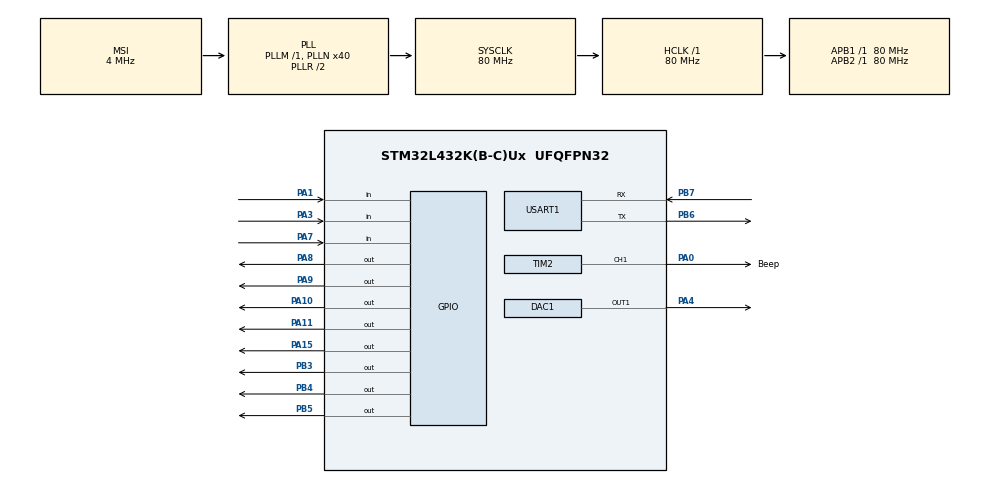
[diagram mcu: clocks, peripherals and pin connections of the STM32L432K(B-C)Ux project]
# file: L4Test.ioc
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DAC1.DAC_OutputBuffer-DAC_OUT1=DAC_OUTPUTBUFFER_DISABLE
DAC1.DAC_Trigger-DAC_OUT1=DAC_TRIGGER_T6_TRGO
Mcu.Family=STM32L4
Mcu.Name=STM32L432K(B-C)Ux
Mcu.Package=UFQFPN32
NVIC.PriorityGroup=NVIC_PRIORITYGROUP_4
NVIC.TIM6_DAC_IRQn=true\:0\:0\:false\:false\:true\:true\:true\:true
NVIC.TIM7_IRQn=true\:0\:0\:false\:false\:true\:true\:true\:true
NVIC.USART1_IRQn=true\:0\:0\:false\:false\:true\:true\:true\:true
PA0.GPIO_Label=Beep
PA0.GPIO_PuPd=GPIO_PULLDOWN
PA0.Signal=S_TIM2_CH1
PA1.GPIO_PuPd=GPIO_PULLDOWN
PA1.Signal=GPIO_Input
PA10.GPIO_ModeDefaultOutputPP=GPIO_MODE_OUTPUT_OD
PA10.GPIO_PuPd=GPIO_PULLUP
PA10.Signal=GPIO_Output
PA11.Signal=GPIO_Output
PA13\ (JTMS-SWDIO).Mode=Serial_Wire
PA13\ (JTMS-SWDIO).Signal=SYS_JTMS-SWDIO
PA14\ (JTCK-SWCLK).Mode=Serial_Wire
PA14\ (JTCK-SWCLK).Signal=SYS_JTCK-SWCLK
PA15\ (JTDI).Signal=GPIO_Output
PA3.GPIO_PuPd=GPIO_PULLDOWN
PA3.Signal=GPIO_Input
PA4.Signal=COMP_DAC11_group
PA7.GPIO_PuPd=GPIO_PULLDOWN
PA7.Signal=GPIO_Input
PA8.Signal=GPIO_Output
PA9.GPIO_ModeDefaultOutputPP=GPIO_MODE_OUTPUT_OD
PA9.GPIO_PuPd=GPIO_PULLUP
PA9.Signal=GPIO_Output
PB3\ (JTDO-TRACESWO).Signal=GPIO_Output
PB4\ (NJTRST).Signal=GPIO_Output
PB5.Signal=GPIO_Output
PB6.Mode=Asynchronous
PB6.Signal=USART1_TX
PB7.Mode=Asynchronous
PB7.Signal=USART1_RX
ProjectManager.HeapSize=0x200
ProjectManager.StackSize=0x400
ProjectManager.TargetToolchain=STM32CubeIDE
RCC.ADCFreq_Value=32000000
RCC.AHBFreq_Value=80000000
RCC.APB1Freq_Value=80000000
RCC.APB1TimFreq_Value=80000000
RCC.APB2Freq_Value=80000000
RCC.APB2TimFreq_Value=80000000
RCC.CortexFreq_Value=80000000
RCC.HCLKFreq_Value=80000000
RCC.HSE_VALUE=8000000
RCC.HSI48_VALUE=48000000
RCC.HSI_VALUE=16000000
RCC.LSE_VALUE=32768
RCC.MSI_VALUE=4000000
RCC.PLLN=40
RCC.PLLSAI1N=16
RCC.SYSCLKFreq_VALUE=80000000
RCC.SYSCLKSource=RCC_SYSCLKSOURCE_PLLCLK
RCC.USBFreq_Value=32000000
RCC.VCOOutputFreq_Value=160000000
RTC.Date=7
RTC.Hours=10
RTC.Minutes=9
RTC.Month=RTC_MONTH_APRIL
RTC.WeekDay=RTC_WEEKDAY_FRIDAY
RTC.Year=23
SH.COMP_DAC11_group.0=DAC1_OUT1,DAC_OUT1
SH.S_TIM2_CH1.0=TIM2_CH1,PWM Generation1 CH1
TIM2.AutoReloadPreload=TIM_AUTORELOAD_PRELOAD_ENABLE
TIM2.Channel-PWM\ Generation1\ CH1=TIM_CHANNEL_1
TIM2.Period=999
TIM2.Prescaler=79
TIM2.Pulse-PWM\ Generation1\ CH1=500
TIM6.AutoReloadPreload=TIM_AUTORELOAD_PRELOAD_ENABLE
TIM6.Period=9
TIM6.Prescaler=399
TIM6.TIM_MasterOutputTrigger=TIM_TRGO_UPDATE
TIM7.AutoReloadPreload=TIM_AUTORELOAD_PRELOAD_ENABLE
TIM7.Period=9999
TIM7.Prescaler=7999
TIM7.TIM_MasterOutputTrigger=TIM_TRGO_RESET
USART1.VirtualMode-Asynchronous=VM_ASYNC
VP_RTC_VS_RTC_Activate.Mode=RTC_Enabled
VP_RTC_VS_RTC_Calendar.Mode=RTC_Calendar
VP_TIM6_VS_ClockSourceINT.Mode=Enable_Timer
VP_TIM7_VS_ClockSourceINT.Mode=Enable_Timer
board=custom

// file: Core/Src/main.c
/* USER CODE BEGIN Header */
/**
 ******************************************************************************
 * @file           : main.c
 * @brief          : Main program body
 ******************************************************************************
 * @attention
 *
 * Copyright (c) 2023 STMicroelectronics.
 * All rights reserved.
 *
 * This software is licensed under terms that can be found in the LICENSE file
 * in the root directory of this software component.
 * If no LICENSE file comes with this software, it is provided AS-IS.
 *
 ******************************************************************************
 */
/* USER CODE END Header */
#include "main.h"

/* USER CODE BEGIN Includes */
#include "IIC_OLED.h"
#include "cJSON.h"
#include "matrix_keypad.h"
#include "stdio.h"
#include "string.h"
#include "beeper.h"
/* USER CODE END Includes */

/* USER CODE BEGIN PD */
#define HOME_PAGE 0
#define MENU_PAGE 1
#define MSG_SENDER_PAGE 2
#define MSG_INBOX_PAGE 3
#define MSG_OUTBOX_PAGE 4
#define CAL_TIME_PAGE 5
#define INFO_PAGE 6
#define SET_NUMBER_PAGE 7
#define SET_TIME_PAGE 8
#define SET_SERVER_IP_PAGE 9
#define SETTING_PAGE 10
/* USER CODE END PD */

DAC_HandleTypeDef hdac1;

RTC_HandleTypeDef hrtc;

TIM_HandleTypeDef htim2;
TIM_HandleTypeDef htim6;
TIM_HandleTypeDef htim7;

UART_HandleTypeDef huart1;

/* USER CODE BEGIN PV */
uint8_t Uart1_RxBuff[2048] = {0};
uint8_t aRxBuffer;
uint8_t cAlmStr[] = "数据溢出(大于256)\r\n";
uint64_t Uart1_Rx_Cnt = 0;
uint8_t Uart1_RxFlag = 0;
uint16_t TIM7_Cnt1 = 1;
RTC_TimeTypeDef time = {0};
RTC_DateTypeDef date = {0};
cJSON *callBackArg;
void (*showPage)(void);
uint8_t showPageFlag = 0;
uint8_t play_ringtone_flag = 0;

int tunes[8] = {525, 589, 661, 700, 786, 882, 990, 1056};
int ringtone[3] = {330, 441, 661};

char ownID[] = "666";
char udpServerIP[] = "172.20.10.5";

char keyPad[12][10] = {
    "1,.?!@()",
    "2abcABC",
    "3defDEF",
    "4ghiGHI",
    "5jklJKL",
    "6mnoMNO",
    "7pqrsPQRS",
    "8tuvTUV",
    "9wxyzWXYZ",
    "*",
    "0 ",
    "#"};

struct messageEditor {
    char to[11];
    uint8_t toLen;
    char content[255];
    uint8_t contentLen;
    uint8_t typing;  // 0: to, 1: content
    uint8_t cursor;
    uint8_t isTyping;
    char typingChar;
    uint8_t typingCharIndex;
    uint8_t typingKeyIndex;
};

struct messageEditor msgEditor = {
    "",
    0,
    "",
    0,
    0,
    0,
    0,
    '\0',
    255};

// struct messageBox {
//     int id;
//     char from[11];
//     char to[11];
//     char time[20];
//     char content[255];
// };
// struct messageBox *inbox[100], *outbox[100];
// uint8_t inboxLen = 0, outboxLen = 0;
cJSON *msg_box, *outbox;

struct page {
    char *name;
    char items[15][16];
    uint8_t length;
    uint8_t point;
    uint8_t isMenu;
    uint8_t pageTypeID;
    uint8_t showTimeTitle;
    struct page *parent;
    struct page *children[15];
};
struct page *currentPage;

/* USER CODE END PV */

void SystemClock_Config(void);
static void MX_GPIO_Init(void);
static void MX_RTC_Init(void);
static void MX_USART1_UART_Init(void);
static void MX_TIM6_Init(void);
static void MX_DAC1_Init(void);
static void MX_TIM7_Init(void);
static void MX_TIM2_Init(void);

/* USER CODE BEGIN 0 */

// 重写这个函数,重定向printf函数到串口
/*fputc*/
/* 重定向printf */
#ifdef __GNUC__
#define PUTCHAR_PROTOTYPE int __io_putchar(int ch)
#else
#define PUTCHAR_PROTOTYPE int fputc(int ch, FILE *stream)
#endif
PUTCHAR_PROTOTYPE {
    HAL_UART_Transmit(&huart1, &ch, 1, 1000);  // 发送串口，不同的单片机函数和串口命名不同，替换对于的函数串口名字即可实现不同库和不同单片机的重定向了
    return ch;
}

// // 重定向scanf函数到串口 意思就是说接受串口发过来的数据
// /*fgetc*/
// int fgetc(FILE *F) {
//     uint8_t ch_r = 0;
//     HAL_UART_Receive(&huart1, &ch_r, 1, 0xffff);  // 接收
//     return ch_r;
// }

struct page infoPage = {
    "Info",
    {},
    0,
    0,
    0,
    INFO_PAGE,
    1,
    NULL};

struct page calibrateTimePage = {
    "Calibrate Time",
    {},
    0,
    0,
    0,
    CAL_TIME_PAGE,
    0,
    NULL};

struct page sendMessagePage = {
    "Send Message",
    {},
    0,
    0,
    0,
    MSG_SENDER_PAGE,
    1,
    NULL,
    {}};

struct page inboxPage = {
    "Inbox",
    {},
    0,
    0,
    0,
    MSG_INBOX_PAGE,
    0,
    NULL};

struct page outboxPage = {
    "Outbox",
    {},
    0,
    0,
    0,
    MSG_OUTBOX_PAGE,
    0,
    NULL};

struct page messageHome = {
    "Message Home",
    {
        "Send Message",
        "Inbox",
        "Outbox"
    },
    3,
    0,
    1,
    MENU_PAGE,
    1,
    NULL,
    {&sendMessagePage, &inboxPage, &outboxPage}};

struct page setIDPage = {
    "Set Number",
    {},
    0,
    0,
    0,
    SET_NUMBER_PAGE,
    1,
    NULL};

struct page setTimePage = {
    "Set Time",
    {},
    0,
    0,
    0,
    SET_TIME_PAGE,
    1,
    NULL};

struct page setServerIPPage = {
    "Set Server IP",
    {},
    0,
    0,
    0,
    SET_SERVER_IP_PAGE,
    1,
    NULL};

struct page settingPage = {
    "Settings Page",
    {
        "Set ID",
        "Calibrate Time",
        // "Set Time",
        // "Set Server IP",

    },
    2,
    0,
    1,
    SETTING_PAGE,
    1,
    NULL,
    {&setIDPage, &calibrateTimePage, &setTimePage, &setServerIPPage}};

struct page mainMenu = {
    "Main Menu",
    {
        "Message",
        "Settings",
    },
    2,
    0,
    1,
    MENU_PAGE,
    1,
    NULL,
    {&messageHome, &settingPage}};

struct page homeScreen = {
    "Home Screen",
    {"Main Menu"},
    1,
    0,
    0,
    HOME_PAGE,
    0,
    NULL,
    {&mainMenu}};

void page_init() {
    mainMenu.parent = &homeScreen;
    messageHome.parent = settingPage.parent = &mainMenu;
    sendMessagePage.parent = inboxPage.parent = outboxPage.parent = &messageHome;
    setIDPage.parent = calibrateTimePage.parent = setTimePage.parent = setServerIPPage.parent = &settingPage;
}

void page_back() {
    if (currentPage->parent != NULL) {
        show_page(currentPage->parent);
    }
}

void show_page(struct page *page) {
    if (page == NULL) return;
    switch (page->pageTypeID) {
        case HOME_PAGE:
            show_homeScreen();
            currentPage = page;
            break;
        case MENU_PAGE:
            show_menu(page);
            currentPage = page;
            break;
        case MSG_SENDER_PAGE:
            currentPage = page;
            show_msg_sender();
            break;
        case MSG_INBOX_PAGE:
            currentPage = page;
            get_msg_inbox();
            break;
        case MSG_OUTBOX_PAGE:
            currentPage = page;
            get_msg_outbox();
            break;
        case CAL_TIME_PAGE:
            currentPage = page;
            show_cal_time();
            break;
        case SETTING_PAGE:
            currentPage = page;
            show_menu(page);
            break;
        case SET_NUMBER_PAGE:
            currentPage = page;
            show_set_id();
            break;
        case SET_TIME_PAGE:
            currentPage = page;
            show_set_time();
            break;
        case SET_SERVER_IP_PAGE:
            currentPage = page;
            // show_set_server_ip();
            break;
    }
}

/*
    Callback functions
*/
void HAL_UART_RxCpltCallback(UART_HandleTypeDef *huart) {
    if (Uart1_Rx_Cnt >= 2047)  // 溢出判断
    {
        Uart1_Rx_Cnt = 0;
        memset(Uart1_RxBuff, 0x00, sizeof(Uart1_RxBuff));
        HAL_UART_Transmit(&huart1, (uint8_t *)&cAlmStr, sizeof(cAlmStr), 0xFFFF);
    } else {
        Uart1_RxBuff[Uart1_Rx_Cnt++] = aRxBuffer;
        if ((Uart1_RxBuff[Uart1_Rx_Cnt - 1] == 0x0A) && (Uart1_RxBuff[Uart1_Rx_Cnt - 2] == 0x0D)) {
            Uart1_RxFlag = 1;
            char res[2048] = {0};
            if (Uart1_RxBuff[0] == '>') {
                strcpy(res, Uart1_RxBuff + 1);
            } else {
                strcpy(res, Uart1_RxBuff);
            }
            memset(Uart1_RxBuff, 0x00, sizeof(Uart1_RxBuff));
            Uart1_Rx_Cnt = 0;
            if (res[0] == '{') {
                callBackArg = cJSON_Parse(res);
                call_back();
            }
        }
    }

    HAL_UART_Receive_IT(&huart1, (uint8_t *)&aRxBuffer, 1);
}

void HAL_TIM_PeriodElapsedCallback(TIM_HandleTypeDef *htim) {
    if (htim->Instance == TIM7) {
        TIM7_Cnt1++;
        if (TIM7_Cnt1 >= 30) {
            TIM7_Cnt1 = 0;
            reshow_time();
        }
    }
}

/*
    Settings
*/
void show_set_id() {
    OLED_ClearAll();
    show_title_time();
    OLED_Printf(0, 1, 8, 1, "3-digit ID:");
    OLED_Printf(0, 2, 16, 1, "___");
    char numbers[4] = "";
    int cursor = 0;
    while(1){
        char key = keypad_scan(htim2);
        switch (key){
            case '*':
                if (cursor > 0){
                    numbers[--cursor] = '\0';
                    OLED_ClearLine(2);
                    OLED_Printf(0, 2, 16, 1, numbers);
                    for(int i = cursor; i < 3; i++){
                        OLED_Printf(8 * i, 2, 16, 1, "_");
                    }
                }
                break;
            case '#':
                if(cursor < 3) break;
                strcpy(ownID, numbers);
                show_page(currentPage->parent);
                return;
            default:
                if (key == 0) break;
                if (cursor < 3){
                    numbers[cursor++] = key;
                    OLED_ClearLine(2);
                    OLED_Printf(0, 2, 16, 1, numbers);
                    for(int i = cursor; i < 3; i++){
                        OLED_Printf(8 * i, 2, 16, 1, "_");
                    }
                }
                break;
        }
    }
}

void print_setting_time(char *_time, int cursor){
    // _time: "00/00/00 00:00"
    OLED_ClearLine(2);
    int len = 14;
    for(int i = 0; i < len; i++){
        if (i == cursor){
            OLED_Printf(8 * i, 2, 16, 1, "_");
        } else {
            OLED_Printf(8 * i, 2, 16, 1, "%c", _time[i]);
        }
    }
}

void show_set_time(){
    OLED_ClearAll();
    show_title_time();
    OLED_Printf(0, 1, 8, 1, "Input Time:");
    char _time[15] = "00/00/00 00:00";
    int cursor = 0;
    print_setting_time(_time, cursor);
    while(1){
        char key = keypad_scan(htim2);
        switch (key){
            case '*':
                if (cursor > 0){
                    cursor--;
                    while(_time[cursor] < '0' || _time[cursor] > '9') cursor--;
                    _time[cursor] = '0';
                    print_setting_time(_time, cursor);
                }
                break;
            case '#':
                if(cursor < 14) break;
                RTC_TimeTypeDef sTime = {0};
                RTC_DateTypeDef sDate = {0};
                sscanf(_time, "%d/%d/%d %d:%d", &sDate.Year, &sDate.Month, &sDate.Date, &sTime.Hours, &sTime.Minutes);
                sDate.WeekDay = date.WeekDay;
                set_time(&sTime, &sDate);
                show_page(currentPage->parent);
                return;
            default:
                if (key == 0) break;
                _time[cursor] = key;
                cursor++;
                while(_time[cursor] < '0' || _time[cursor] > '9') cursor++;
                print_setting_time(_time, cursor);
                break;
        }
    }
}

/*
    Time & Date Funcs
*/
void show_time(int x, int y, int size, int mode) {
    OLED_Printf(x, y, size, mode, "%02d:%02d", time.Hours, time.Minutes);
}

void show_date(int x, int y, int size, int mode, int showWeekDay) {
    if (showWeekDay)
        OLED_Printf(x, y, size, mode, "%02d/%02d/%02d %s", date.Year, date.Month, date.Date,
                    (date.WeekDay == 1)   ? "MON"
                    : (date.WeekDay == 2) ? "TUE"
                    : (date.WeekDay == 3) ? "WED"
                    : (date.WeekDay == 4) ? "THU"
                    : (date.WeekDay == 5) ? "FRI"
                    : (date.WeekDay == 6) ? "SAT"
                                          : "SUN");
    else
        OLED_Printf(x, y, size, mode, "%02d/%02d/%02d", date.Year, date.Month, date.Date);
}

void show_title_time() {
    OLED_ClearLine(0);
    HAL_RTC_GetTime(&hrtc, &time, RTC_FORMAT_BIN);
    HAL_RTC_GetDate(&hrtc, &date, RTC_FORMAT_BIN);
    show_time(0, 0, 8, 1);
    show_date(64, 0, 8, 1, 0);
}

void set_time(RTC_TimeTypeDef *sTime, RTC_DateTypeDef *sDate) {
    HAL_RTC_SetTime(&hrtc, sTime, RTC_FORMAT_BIN);
    HAL_RTC_SetDate(&hrtc, sDate, RTC_FORMAT_BIN);

    reshow_time();
    TIM7_Cnt1 = sTime->Seconds % 31;
}

void reshow_time() {
    if (currentPage->pageTypeID == HOME_PAGE) {
        show_homeScreen();
    } else if (currentPage->showTimeTitle) {
        show_title_time();
    }
}

void calibrate_time() {
    udp_init();
    // strcpy(callBack, "set_time");
    printf("{\"func\":\"get_time\",\"clbk\":\"set_time\"}\r\n");
    HAL_Delay(1000);
}

/*
    UDP Funcs
*/
void udp_init(){
    printf("AT+CIPSTART=\"UDP\",\"%s\",6000,9000,0\r\n", udpServerIP);
    HAL_Delay(100);
    printf("AT+CIPMODE=1\r\n");
    HAL_Delay(100);
    printf("AT+CIPSEND\r\n");
    HAL_Delay(100);
}

void register_ID() {
    udp_init();
    // {"func":"reg","id":"1234567890"}
    printf("{\"func\":\"reg\",\"id\":\"%s\"}\r\n", ownID);
    HAL_Delay(500);
}

/*
    Home Screen
*/
void show_homeScreen() {
    uint8_t xtime = 44;
    uint8_t xdate = 16;
    RTC_TimeTypeDef currentTime = {0};
    RTC_DateTypeDef currentDate = {0};
    HAL_RTC_GetTime(&hrtc, &currentTime, RTC_FORMAT_BIN);
    HAL_RTC_GetDate(&hrtc, &currentDate, RTC_FORMAT_BIN);
    if (currentPage != &homeScreen) {
        OLED_ClearAll();
        time = currentTime;
        date = currentDate;
        show_date(xdate, 0, 8, 1, 1);
        show_time(xtime, 1, 16, 1);
        OLED_Printf(127 - 4 * 8, 7, 8, 1, "MENU");
    } else {
        if (time.Hours != currentTime.Hours || time.Minutes != currentTime.Minutes) {
            time = currentTime;
            OLED_ClearLine(1);
            OLED_ClearLine(2);
            show_time(xtime, 1, 16, 1);
        }
        if (date.Date != currentDate.Date || date.Month != currentDate.Month || date.Year != currentDate.Year) {
            date = currentDate;
            OLED_ClearLine(0);
            show_date(xdate, 0, 8, 1, 1);
        }
    }
}

/*
    Message Funcs
*/
void send_msg() {
    udp_init();
    // {"func":"send_msg", "msg":{"from":"1", "to":"2", "time":"23/04/09 19:38", "content":"Hello, world!"}}
    printf("{\"func\":\"send_msg\",\"msg\":{\"from\":\"%s\",\"to\":\"%s\",\"time\":\"%02d/%02d/%02d %02d:%02d\",\"content\":\"%s\"}}\r\n", ownID, msgEditor.to, date.Year, date.Month, date.Date, time.Hours, time.Minutes, msgEditor.content);
    HAL_Delay(500);
}

void init_msg_editor() {
    // msgEditor.to[0] = '\0';
    // msgEditor.content[0] = '\0';
    memset(msgEditor.to, 0, sizeof(msgEditor.to));
    memset(msgEditor.content, 0, sizeof(msgEditor.content));
    msgEditor.toLen = 0;
    msgEditor.contentLen = 0;
    msgEditor.typing = 0;
    msgEditor.isTyping = 0;
    msgEditor.typingChar = ' ';
    msgEditor.typingCharIndex = 0;
    msgEditor.typingKeyIndex = 0;
}

void show_cursor(uint8_t x, uint8_t y) {
    if (msgEditor.isTyping == 0) {
        OLED_Printf(x, y, 8, 0, " ");
    } else {
        OLED_Printf(x, y, 8, 0, "%c", msgEditor.typingChar);
    }
}

void show_msg_editor() {
    OLED_ClearAll();
    show_title_time();

    if (msgEditor.typing == 0) {
        uint8_t x = 0;
        OLED_Printf(x, 1, 8, 1, "To: ");
        x += 4 * 8;
        if (msgEditor.toLen == 0) {
            OLED_Printf(x, 1, 8, 0, " ");
        } else {
            OLED_Printf(x, 1, 8, 1, "%s", msgEditor.to);
            x += msgEditor.toLen * 8;
            OLED_Printf(x, 1, 8, 0, " ");
        }
        OLED_Printf(0, 2, 8, 1, "Content: %s", msgEditor.content);
    } else {
        OLED_Printf(0, 1, 8, 1, "To: %s", msgEditor.to);
        OLED_Printf(0, 2, 8, 1, "Content: ");
        uint8_t x = 0;
        uint8_t y = 3;
        if (msgEditor.contentLen == 0) {
            show_cursor(x, y);
        } else {
            OLED_Printf(x, y, 8, 1, "%s", msgEditor.content);
            x += msgEditor.contentLen * 8;
            if (x > 127 - 8) {
                x = 0;
                y++;
            }
            show_cursor(x, y);
        }
    }
}

void type(uint8_t typingKeyIndex) {
    if (msgEditor.typing == 0) {
        msgEditor.to[msgEditor.toLen++] = keyPad[typingKeyIndex][0];
    } else {
        if (msgEditor.isTyping == 1 && msgEditor.typingKeyIndex != typingKeyIndex) {
            msgEditor.isTyping = 0;
            msgEditor.content[msgEditor.contentLen++] = msgEditor.typingChar;
        }

        if (msgEditor.isTyping == 1 && msgEditor.typingKeyIndex == typingKeyIndex) {
            msgEditor.typingCharIndex++;
            if (keyPad[msgEditor.typingKeyIndex][msgEditor.typingCharIndex] == '\0') {
                msgEditor.typingCharIndex = 0;
            }
            msgEditor.typingChar = keyPad[msgEditor.typingKeyIndex][msgEditor.typingCharIndex];
        } else {
            msgEditor.isTyping = 1;
            msgEditor.typingCharIndex = 0;
            msgEditor.typingKeyIndex = typingKeyIndex;
            msgEditor.typingChar = keyPad[msgEditor.typingKeyIndex][msgEditor.typingCharIndex];
        }
    }
}

void show_msg_sender() {
    OLED_ClearAll();
    show_title_time();

    uint8_t brk_flag = 1;
    show_msg_editor();
    while (brk_flag) {
        char key = keypad_scan(htim2);
        if (key == 0) continue;
        switch (key) {
            case '1':
                type(0);
                break;
            case '2':
                type(1);
                break;
            case '3':
                type(2);
                break;
            case '4':
                type(3);
                break;
            case '5':
                type(4);
                break;
            case '6':
                type(5);
                break;
            case '7':
                type(6);
                break;
            case '8':
                type(7);
                break;
            case '9':
                type(8);
                break;
            case '*':
                if (msgEditor.typing == 0) {
                    if (msgEditor.toLen > 0) {
                        msgEditor.to[--msgEditor.toLen] = '\0';
                    }
                } else {
                    if (msgEditor.isTyping == 1) {
                        msgEditor.isTyping = 0;
                    } else {
                        if (msgEditor.contentLen > 0) {
                            msgEditor.content[--msgEditor.contentLen] = '\0';
                        } else {
                            msgEditor.typing = 0;
                        }
                    }
                }
                break;
            case '0':
                type(10);
                break;
            case '#':
                if (msgEditor.typing == 0) {
                    msgEditor.typing = 1;
                } else if (msgEditor.typing == 1 && msgEditor.isTyping == 1) {
                    msgEditor.isTyping = 0;
                    msgEditor.content[msgEditor.contentLen++] = msgEditor.typingChar;
                } else {
                    OLED_ClearAll();
                    OLED_Printf(0, 3, 16, 1, "Sending...");
                    // HAL_Delay(1000);
                    send_msg();
                    OLED_ClearAll();
                    OLED_Printf(0, 3, 16, 1, "Msg Sent!");
                    HAL_Delay(1000);
                    init_msg_editor();
                    brk_flag = 0;
                }
                break;
        }
        if (brk_flag) show_msg_editor();
    }
    page_back();
}

void get_msg_inbox(){
    OLED_ClearAll();
    OLED_Printf(0, 3, 16, 1, "Loading...");
    udp_init();
    // {"func":"get_msg_inbox", "id":"1234567890"}
    printf("{\"func\":\"get_msg_inbox\", \"id\":\"%s\", \"clbk\":\"show_msg_inbox\"}\r\n", ownID);
    HAL_Delay(500);
}

void get_msg_outbox(){
    OLED_ClearAll();
    OLED_Printf(0, 3, 16, 1, "Loading...");
    udp_init();
    // {"func":"get_msg_outbox", "id":"1234567890"}
    printf("{\"func\":\"get_msg_outbox\", \"id\":\"%s\", \"clbk\":\"show_msg_outbox\"}\r\n", ownID);
    HAL_Delay(500);
}

void show_msg(cJSON *msg){
    OLED_ClearAll();
    show_title_time();

    char *from = cJSON_GetObjectItem(msg, "from")->valuestring;
    char *to = cJSON_GetObjectItem(msg, "to")->valuestring;
    char *time = cJSON_GetObjectItem(msg, "time")->valuestring;
    char *content = cJSON_GetObjectItem(msg, "content")->valuestring;
    OLED_Printf(0, 1, 8, 1, "%s -> %s", from, to);
    OLED_Printf(0, 2, 8, 1, "%s", time);
    OLED_Printf(0, 3, 8, 1, "  %s", content);
    OLED_Printf(0, 7, 8, 1, "Reply");
}

void show_msg_box(){
    OLED_ClearAll();
    show_title_time();

    int boxLen = cJSON_GetArraySize(msg_box);
    if (boxLen == 0) {
        OLED_Printf(0, 3, 16, 1, "No Msg");
        HAL_Delay(1000);
        page_back();
        return;
    }else{
        int currentIndex = boxLen - 1;
        uint8_t brk_flag = 1;
        show_msg(cJSON_GetArrayItem(msg_box, currentIndex));
        while(brk_flag){
            char key = keypad_scan(htim2);
            if (key == 0) continue;
            switch (key) {
                case '1':
                    // Reply
                    init_msg_editor();
                    strcpy (msgEditor.to, cJSON_GetObjectItem(cJSON_GetArrayItem(msg_box, currentIndex), "from")->valuestring);
                    msgEditor.toLen = strlen(msgEditor.to);
                    brk_flag = 0;
                    show_msg_sender();
                    break;
                case '4':
                    // Previous
                    if (currentIndex > 0) {
                        currentIndex--;
                    }else{
                        currentIndex = boxLen - 1;
                    }
                    show_msg(cJSON_GetArrayItem(msg_box, currentIndex));
                    break;
                case '6':
                    // Next
                    if (currentIndex < boxLen - 1) {
                        currentIndex++;
                    }else{
                        currentIndex = 0;
                    }
                    show_msg(cJSON_GetArrayItem(msg_box, currentIndex));
                    break;
                case '*':
                    brk_flag = 0;
                    page_back();
                    break;
            }
        }
    }
}

/*
    Menu
*/
void show_menu(struct page *menu) {
    OLED_ClearAll();
    show_title_time();

    int startPoint = 0, endpoint = 5;
    if (menu->point > 5) {
        startPoint = menu->point - 5;
        endpoint = menu->point;
    }
    if (endpoint > menu->length - 1) {
        endpoint = menu->length - 1;
    }
    for (int i = startPoint; i < startPoint + 6; i++) {
        if (i == menu->point) {
            OLED_Printf(0, i - startPoint + 1, 8, 1, ">");
        }
        OLED_Printf(8, i - startPoint + 1, 8, 1, menu->items[i]);
    }
}

void show_cal_time() {
    OLED_ClearAll();
    OLED_Printf(0, 3, 16, 1, "Calibrating...");
    calibrate_time();
    HAL_Delay(2000);
    OLED_ClearAll();
    OLED_Printf(0, 0, 16, 1, "Calibrated!");
    OLED_Printf(0, 3, 8, 1, "Time: ");
    show_time(16, 4, 8, 1);
    OLED_Printf(0, 5, 8, 1, "Date: ");
    show_date(16, 6, 8, 1, 1);
    HAL_Delay(3000);

    page_back();
}

void menu_up() {
    if (currentPage->point > 0) {
        currentPage->point--;
        show_menu(currentPage);
    }
}

void menu_down() {
    if (!currentPage->isMenu) return;
    if (currentPage->point < currentPage->length - 1) {
        currentPage->point++;
        show_menu(currentPage);
    }
}

/*
    Call Backs
*/
void _set_time() {
    RTC_TimeTypeDef sTime;
    sTime.Hours = cJSON_GetObjectItem(callBackArg, "h")->valueint;
    sTime.Minutes = cJSON_GetObjectItem(callBackArg, "min")->valueint;
    sTime.Seconds = cJSON_GetObjectItem(callBackArg, "s")->valueint;

    RTC_DateTypeDef sDate;
    sDate.WeekDay = cJSON_GetObjectItem(callBackArg, "w")->valueint + 1;
    sDate.Month = cJSON_GetObjectItem(callBackArg, "m")->valueint;
    sDate.Date = cJSON_GetObjectItem(callBackArg, "d")->valueint;
    sDate.Year = cJSON_GetObjectItem(callBackArg, "y")->valueint;

    set_time(&sTime, &sDate);
}

void play_ringtone(){
    for (int i = 0; i < 3; i++){
        beep_setFreq(ringtone[i], htim2);
        HAL_Delay(150);
        beep_off(htim2);
    }
}

void _recv_msg(){
    OLED_ClearAll();
    OLED_Printf((128-8*8)/2, 3, 16, 1, "New Msg!");
    OLED_Printf(0, 7, 8, 1, "*:Back   #:Read");
    play_ringtone_flag = 1;
    infoPage.parent = currentPage;
    infoPage.children[0] = &inboxPage;
    currentPage = &infoPage;
    // while(1){
    //     char key = keypad_scan(htim2);
    //     if (key == 0) continue;
    //     if (key == '*') {
    //         show_page(currentPage);
    //         break;
    //     }else if(key == '#'){
    //         get_msg_inbox();
    //         break;
    //     }
    // }
}

void _show_msg_box(){
    memset(msg_box, NULL, sizeof(msg_box));
    msg_box = cJSON_GetObjectItem(callBackArg, "msgs");
    showPage = show_msg_box;
    showPageFlag = 1;
}

void call_back() {
    char *callBack = cJSON_GetObjectItem(callBackArg, "clbk")->valuestring;
    if (callBack == NULL) return;
    if (strcmp(callBack, "set_time") == 0) {
        _set_time();
    }else if(strcmp(callBack, "recv_msg") == 0){
        _recv_msg();
    }else if(strcmp(callBack, "show_msg_inbox") == 0){
        _show_msg_box();
    }else if(strcmp(callBack, "show_msg_outbox") == 0){
        _show_msg_box();
    }
}

/* USER CODE END 0 */

int main(void)
{

  /* MCU Configuration--------------------------------------------------------*/

  /* Reset of all peripherals, Initializes the Flash interface and the Systick. */
  HAL_Init();

  /* Configure the system clock */
  SystemClock_Config();

  /* Initialize all configured peripherals */
  MX_GPIO_Init();
  MX_RTC_Init();
  MX_USART1_UART_Init();
  MX_TIM6_Init();
  MX_DAC1_Init();
  MX_TIM7_Init();
  MX_TIM2_Init();
  /* USER CODE BEGIN 2 */
    HAL_UART_Receive_IT(&huart1, &aRxBuffer, 1);
    __HAL_TIM_CLEAR_IT(&htim7, TIM_IT_UPDATE);
    HAL_TIM_Base_Start_IT(&htim7);

    page_init();
    OLED_Init();
    HAL_Delay(200);
    OLED_Printf(0, 3, 16, 1, "System Starting");
    // OLED_StartHoriRoll(OLED_ROLL_RIGHT, OLED_ROLL_3, 0, 1);
    calibrate_time();
    register_ID();
    //  OLED_Test();
  /* USER CODE END 2 */

  /* Infinite loop */
  /* USER CODE BEGIN WHILE */
    play_ringtone();
    show_page(&homeScreen);
    while (1) {
    /* USER CODE END WHILE */

    /* USER CODE BEGIN 3 */
        if (showPageFlag) {
            showPage();
            showPageFlag = 0;
        }

        if (play_ringtone_flag){
            play_ringtone();
            play_ringtone_flag = 0;
        }

        char key = keypad_scan(htim2);
        switch (key) {
            case '1':
                break;
            case '2':
                menu_up();
                break;
            case '3':
                break;
            case '4':
                break;
            case '5':
                break;
            case '6':
                break;
            case '7':
                break;
            case '8':
                menu_down();
                break;
            case '9':
                break;
            case '*':
                page_back();
                break;
            case '0':
                break;
            case '#':
                show_page(currentPage->children[currentPage->point]);
                break;
        }
    }
  /* USER CODE END 3 */
}

void SystemClock_Config(void)
{
  RCC_OscInitTypeDef RCC_OscInitStruct = {0};
  RCC_ClkInitTypeDef RCC_ClkInitStruct = {0};

  /** Configure the main internal regulator output voltage
  */
  if (HAL_PWREx_ControlVoltageScaling(PWR_REGULATOR_VOLTAGE_SCALE1) != HAL_OK)
  {
    Error_Handler();
  }

  /** Initializes the RCC Oscillators according to the specified parameters
  * in the RCC_OscInitTypeDef structure.
  */
  RCC_OscInitStruct.OscillatorType = RCC_OSCILLATORTYPE_LSI|RCC_OSCILLATORTYPE_MSI;
  RCC_OscInitStruct.LSIState = RCC_LSI_ON;
  RCC_OscInitStruct.MSIState = RCC_MSI_ON;
  RCC_OscInitStruct.MSICalibrationValue = 0;
  RCC_OscInitStruct.MSIClockRange = RCC_MSIRANGE_6;
  RCC_OscInitStruct.PLL.PLLState = RCC_PLL_ON;
  RCC_OscInitStruct.PLL.PLLSource = RCC_PLLSOURCE_MSI;
  RCC_OscInitStruct.PLL.PLLM = 1;
  RCC_OscInitStruct.PLL.PLLN = 40;
  RCC_OscInitStruct.PLL.PLLP = RCC_PLLP_DIV7;
  RCC_OscInitStruct.PLL.PLLQ = RCC_PLLQ_DIV2;
  RCC_OscInitStruct.PLL.PLLR = RCC_PLLR_DIV2;
  if (HAL_RCC_OscConfig(&RCC_OscInitStruct) != HAL_OK)
  {
    Error_Handler();
  }

  /** Initializes the CPU, AHB and APB buses clocks
  */
  RCC_ClkInitStruct.ClockType = RCC_CLOCKTYPE_HCLK|RCC_CLOCKTYPE_SYSCLK
                              |RCC_CLOCKTYPE_PCLK1|RCC_CLOCKTYPE_PCLK2;
  RCC_ClkInitStruct.SYSCLKSource = RCC_SYSCLKSOURCE_PLLCLK;
  RCC_ClkInitStruct.AHBCLKDivider = RCC_SYSCLK_DIV1;
  RCC_ClkInitStruct.APB1CLKDivider = RCC_HCLK_DIV1;
  RCC_ClkInitStruct.APB2CLKDivider = RCC_HCLK_DIV1;

  if (HAL_RCC_ClockConfig(&RCC_ClkInitStruct, FLASH_LATENCY_4) != HAL_OK)
  {
    Error_Handler();
  }
}

static void MX_DAC1_Init(void)
{

  DAC_ChannelConfTypeDef sConfig = {0};

  /** DAC Initialization
  */
  hdac1.Instance = DAC1;
  if (HAL_DAC_Init(&hdac1) != HAL_OK)
  {
    Error_Handler();
  }

  /** DAC channel OUT1 config
  */
  sConfig.DAC_SampleAndHold = DAC_SAMPLEANDHOLD_DISABLE;
  sConfig.DAC_Trigger = DAC_TRIGGER_T6_TRGO;
  sConfig.DAC_OutputBuffer = DAC_OUTPUTBUFFER_DISABLE;
  sConfig.DAC_ConnectOnChipPeripheral = DAC_CHIPCONNECT_DISABLE;
  sConfig.DAC_UserTrimming = DAC_TRIMMING_FACTORY;
  if (HAL_DAC_ConfigChannel(&hdac1, &sConfig, DAC_CHANNEL_1) != HAL_OK)
  {
    Error_Handler();
  }

}

static void MX_RTC_Init(void)
{

  RTC_TimeTypeDef sTime = {0};
  RTC_DateTypeDef sDate = {0};

  /** Initialize RTC Only
  */
  hrtc.Instance = RTC;
  hrtc.Init.HourFormat = RTC_HOURFORMAT_24;
  hrtc.Init.AsynchPrediv = 127;
  hrtc.Init.SynchPrediv = 255;
  hrtc.Init.OutPut = RTC_OUTPUT_DISABLE;
  hrtc.Init.OutPutRemap = RTC_OUTPUT_REMAP_NONE;
  hrtc.Init.OutPutPolarity = RTC_OUTPUT_POLARITY_HIGH;
  hrtc.Init.OutPutType = RTC_OUTPUT_TYPE_OPENDRAIN;
  if (HAL_RTC_Init(&hrtc) != HAL_OK)
  {
    Error_Handler();
  }

  /** Initialize RTC and set the Time and Date
  */
  sTime.Hours = 0x10;
  sTime.Minutes = 0x9;
  sTime.Seconds = 0x0;
  sTime.DayLightSaving = RTC_DAYLIGHTSAVING_NONE;
  sTime.StoreOperation = RTC_STOREOPERATION_RESET;
  if (HAL_RTC_SetTime(&hrtc, &sTime, RTC_FORMAT_BCD) != HAL_OK)
  {
    Error_Handler();
  }
  sDate.WeekDay = RTC_WEEKDAY_FRIDAY;
  sDate.Month = RTC_MONTH_APRIL;
  sDate.Date = 0x7;
  sDate.Year = 0x23;

  if (HAL_RTC_SetDate(&hrtc, &sDate, RTC_FORMAT_BCD) != HAL_OK)
  {
    Error_Handler();
  }

}

static void MX_TIM2_Init(void)
{

  TIM_MasterConfigTypeDef sMasterConfig = {0};
  TIM_OC_InitTypeDef sConfigOC = {0};

  htim2.Instance = TIM2;
  htim2.Init.Prescaler = 79;
  htim2.Init.CounterMode = TIM_COUNTERMODE_UP;
  htim2.Init.Period = 999;
  htim2.Init.ClockDivision = TIM_CLOCKDIVISION_DIV1;
  htim2.Init.AutoReloadPreload = TIM_AUTORELOAD_PRELOAD_ENABLE;
  if (HAL_TIM_PWM_Init(&htim2) != HAL_OK)
  {
    Error_Handler();
  }
  sMasterConfig.MasterOutputTrigger = TIM_TRGO_RESET;
  sMasterConfig.MasterSlaveMode = TIM_MASTERSLAVEMODE_DISABLE;
  if (HAL_TIMEx_MasterConfigSynchronization(&htim2, &sMasterConfig) != HAL_OK)
  {
    Error_Handler();
  }
  sConfigOC.OCMode = TIM_OCMODE_PWM1;
  sConfigOC.Pulse = 500;
  sConfigOC.OCPolarity = TIM_OCPOLARITY_HIGH;
  sConfigOC.OCFastMode = TIM_OCFAST_DISABLE;
  if (HAL_TIM_PWM_ConfigChannel(&htim2, &sConfigOC, TIM_CHANNEL_1) != HAL_OK)
  {
    Error_Handler();
  }
  HAL_TIM_MspPostInit(&htim2);

}

static void MX_TIM6_Init(void)
{

  TIM_MasterConfigTypeDef sMasterConfig = {0};

  htim6.Instance = TIM6;
  htim6.Init.Prescaler = 399;
  htim6.Init.CounterMode = TIM_COUNTERMODE_UP;
  htim6.Init.Period = 9;
  htim6.Init.AutoReloadPreload = TIM_AUTORELOAD_PRELOAD_ENABLE;
  if (HAL_TIM_Base_Init(&htim6) != HAL_OK)
  {
    Error_Handler();
  }
  sMasterConfig.MasterOutputTrigger = TIM_TRGO_UPDATE;
  sMasterConfig.MasterSlaveMode = TIM_MASTERSLAVEMODE_DISABLE;
  if (HAL_TIMEx_MasterConfigSynchronization(&htim6, &sMasterConfig) != HAL_OK)
  {
    Error_Handler();
  }

}

static void MX_TIM7_Init(void)
{

  TIM_MasterConfigTypeDef sMasterConfig = {0};

  htim7.Instance = TIM7;
  htim7.Init.Prescaler = 7999;
  htim7.Init.CounterMode = TIM_COUNTERMODE_UP;
  htim7.Init.Period = 9999;
  htim7.Init.AutoReloadPreload = TIM_AUTORELOAD_PRELOAD_ENABLE;
  if (HAL_TIM_Base_Init(&htim7) != HAL_OK)
  {
    Error_Handler();
  }
  sMasterConfig.MasterOutputTrigger = TIM_TRGO_RESET;
  sMasterConfig.MasterSlaveMode = TIM_MASTERSLAVEMODE_DISABLE;
  if (HAL_TIMEx_MasterConfigSynchronization(&htim7, &sMasterConfig) != HAL_OK)
  {
    Error_Handler();
  }

}

static void MX_USART1_UART_Init(void)
{

  huart1.Instance = USART1;
  huart1.Init.BaudRate = 115200;
  huart1.Init.WordLength = UART_WORDLENGTH_8B;
  huart1.Init.StopBits = UART_STOPBITS_1;
  huart1.Init.Parity = UART_PARITY_NONE;
  huart1.Init.Mode = UART_MODE_TX_RX;
  huart1.Init.HwFlowCtl = UART_HWCONTROL_NONE;
  huart1.Init.OverSampling = UART_OVERSAMPLING_16;
  huart1.Init.OneBitSampling = UART_ONE_BIT_SAMPLE_DISABLE;
  huart1.AdvancedInit.AdvFeatureInit = UART_ADVFEATURE_NO_INIT;
  if (HAL_UART_Init(&huart1) != HAL_OK)
  {
    Error_Handler();
  }

}

static void MX_GPIO_Init(void)
{
  GPIO_InitTypeDef GPIO_InitStruct = {0};

  /* GPIO Ports Clock Enable */
  __HAL_RCC_GPIOA_CLK_ENABLE();
  __HAL_RCC_GPIOB_CLK_ENABLE();

  /*Configure GPIO pin Output Level */
  HAL_GPIO_WritePin(GPIOA, GPIO_PIN_8|GPIO_PIN_9|GPIO_PIN_10|GPIO_PIN_11
                          |GPIO_PIN_15, GPIO_PIN_RESET);

  /*Configure GPIO pin Output Level */
  HAL_GPIO_WritePin(GPIOB, GPIO_PIN_3|GPIO_PIN_4|GPIO_PIN_5, GPIO_PIN_RESET);

  /*Configure GPIO pins : PA1 PA3 PA7 */
  GPIO_InitStruct.Pin = GPIO_PIN_1|GPIO_PIN_3|GPIO_PIN_7;
  GPIO_InitStruct.Mode = GPIO_MODE_INPUT;
  GPIO_InitStruct.Pull = GPIO_PULLDOWN;
  HAL_GPIO_Init(GPIOA, &GPIO_InitStruct);

  /*Configure GPIO pins : PA8 PA11 PA15 */
  GPIO_InitStruct.Pin = GPIO_PIN_8|GPIO_PIN_11|GPIO_PIN_15;
  GPIO_InitStruct.Mode = GPIO_MODE_OUTPUT_PP;
  GPIO_InitStruct.Pull = GPIO_NOPULL;
  GPIO_InitStruct.Speed = GPIO_SPEED_FREQ_LOW;
  HAL_GPIO_Init(GPIOA, &GPIO_InitStruct);

  /*Configure GPIO pins : PA9 PA10 */
  GPIO_InitStruct.Pin = GPIO_PIN_9|GPIO_PIN_10;
  GPIO_InitStruct.Mode = GPIO_MODE_OUTPUT_OD;
  GPIO_InitStruct.Pull = GPIO_PULLUP;
  GPIO_InitStruct.Speed = GPIO_SPEED_FREQ_LOW;
  HAL_GPIO_Init(GPIOA, &GPIO_InitStruct);

  /*Configure GPIO pins : PB3 PB4 PB5 */
  GPIO_InitStruct.Pin = GPIO_PIN_3|GPIO_PIN_4|GPIO_PIN_5;
  GPIO_InitStruct.Mode = GPIO_MODE_OUTPUT_PP;
  GPIO_InitStruct.Pull = GPIO_NOPULL;
  GPIO_InitStruct.Speed = GPIO_SPEED_FREQ_LOW;
  HAL_GPIO_Init(GPIOB, &GPIO_InitStruct);

}

void Error_Handler(void)
{
    __disable_irq();
    while (1) {
    }
}
